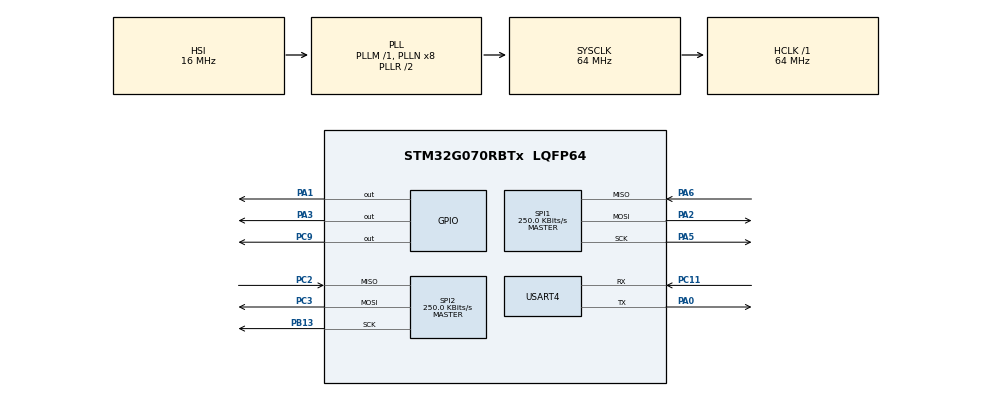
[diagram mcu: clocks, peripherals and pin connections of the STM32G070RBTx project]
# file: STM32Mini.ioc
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Mcu.Family=STM32G0
Mcu.Name=STM32G070RBTx
Mcu.Package=LQFP64
NVIC.USART3_4_IRQn=true\:2\:0\:true\:false\:true\:true\:true\:true
PA0.Mode=Asynchronous
PA0.Signal=USART4_TX
PA1.Signal=GPIO_Output
PA13.Mode=Serial_Wire
PA13.Signal=SYS_SWDIO
PA14-BOOT0.Mode=Serial_Wire
PA14-BOOT0.Signal=SYS_SWCLK
PA2.Mode=Full_Duplex_Master
PA2.Signal=SPI1_MOSI
PA3.PinState=GPIO_PIN_RESET
PA3.Signal=GPIO_Output
PA5.Mode=Full_Duplex_Master
PA5.Signal=SPI1_SCK
PA6.Mode=Full_Duplex_Master
PA6.Signal=SPI1_MISO
PB13.GPIO_Speed=GPIO_SPEED_FREQ_HIGH
PB13.Mode=Full_Duplex_Master
PB13.Signal=SPI2_SCK
PC11.Mode=Asynchronous
PC11.Signal=USART4_RX
PC2.GPIO_PuPd=GPIO_NOPULL
PC2.GPIO_Speed=GPIO_SPEED_FREQ_HIGH
PC2.Mode=Full_Duplex_Master
PC2.Signal=SPI2_MISO
PC3.GPIO_PuPd=GPIO_NOPULL
PC3.GPIO_Speed=GPIO_SPEED_FREQ_HIGH
PC3.Mode=Full_Duplex_Master
PC3.Signal=SPI2_MOSI
PC9.GPIO_PuPd=GPIO_NOPULL
PC9.GPIO_Speed=GPIO_SPEED_FREQ_MEDIUM
PC9.PinState=GPIO_PIN_RESET
PC9.Signal=GPIO_Output
ProjectManager.HeapSize=0x200
ProjectManager.StackSize=0x400
ProjectManager.TargetToolchain=STM32CubeIDE
RCC.ADCFreq_Value=64000000
RCC.AHBFreq_Value=64000000
RCC.CortexFreq_Value=64000000
RCC.EXTERNAL_CLOCK_VALUE=48000
RCC.HCLKFreq_Value=64000000
RCC.HSE_VALUE=8000000
RCC.HSI_VALUE=16000000
RCC.LSE_VALUE=32768
RCC.SYSCLKFreq_VALUE=64000000
RCC.SYSCLKSource=RCC_SYSCLKSOURCE_PLLCLK
RCC.VCOOutputFreq_Value=128000000
SPI1.BaudRatePrescaler=SPI_BAUDRATEPRESCALER_256
SPI1.CalculateBaudRate=250.0 KBits/s
SPI1.DataSize=SPI_DATASIZE_8BIT
SPI1.Direction=SPI_DIRECTION_2LINES
SPI1.Mode=SPI_MODE_MASTER
SPI1.NSSPMode=SPI_NSS_PULSE_DISABLE
SPI1.VirtualType=VM_MASTER
SPI2.BaudRatePrescaler=SPI_BAUDRATEPRESCALER_256
SPI2.CLKPhase=SPI_PHASE_1EDGE
SPI2.CalculateBaudRate=250.0 KBits/s
SPI2.DataSize=SPI_DATASIZE_8BIT
SPI2.Direction=SPI_DIRECTION_2LINES
SPI2.FirstBit=SPI_FIRSTBIT_MSB
SPI2.Mode=SPI_MODE_MASTER
SPI2.NSSPMode=SPI_NSS_PULSE_DISABLE
SPI2.VirtualType=VM_MASTER
USART4.TxPinLevelInvertParam=ADVFEATURE_TXINV_DISABLE
USART4.VirtualMode-Asynchronous=VM_ASYNC
board=custom

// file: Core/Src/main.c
/* USER CODE BEGIN Header */
/**
  ******************************************************************************
  * @file           : main.c
  * @brief          : Main program body
  ******************************************************************************
  * @attention
  *
  * Copyright (c) 2026 STMicroelectronics.
  * All rights reserved.
  *
  * This software is licensed under terms that can be found in the LICENSE file
  * in the root directory of this software component.
  * If no LICENSE file comes with this software, it is provided AS-IS.
  *
  ******************************************************************************
  */
/* USER CODE END Header */
#include "main.h"

/* USER CODE BEGIN Includes */
#include "stdio.h"
#include "stdlib.h"
#include "SDdriver.h"
/* USER CODE END Includes */

/* USER CODE BEGIN PD */
#define LED1_PORT GPIOA
#define LED1_PIN GPIO_PIN_0

#define LED2_PORT GPIOA
#define LED2_PIN GPIO_PIN_1
/* USER CODE END PD */

SPI_HandleTypeDef hspi1;
SPI_HandleTypeDef hspi2;

UART_HandleTypeDef huart4;

/* USER CODE BEGIN PV */
static char text[] = "Hello from STM32!\n\r";
/* USER CODE END PV */

void SystemClock_Config(void);
static void MX_GPIO_Init(void);
static void MX_USART4_UART_Init(void);
static void MX_SPI2_Init(void);
static void MX_SPI1_Init(void);
/* USER CODE BEGIN PFP */
void LEDPLAY(void);
/* USER CODE END PFP */

int main(void)
{

  /* MCU Configuration--------------------------------------------------------*/

  /* Reset of all peripherals, Initializes the Flash interface and the Systick. */
  HAL_Init();

  /* Configure the system clock */
  SystemClock_Config();

  /* Initialize all configured peripherals */
  MX_GPIO_Init();
  MX_USART4_UART_Init();
  MX_SPI2_Init();
  MX_SPI1_Init();
  /* USER CODE BEGIN 2 */
  HAL_Delay(500);
  HAL_UART_Transmit(&huart4, (uint8_t*) &text, sizeof(text), 50);

// separate, not onboard SD: SD_Init(GPIO_PIN_3, GPIOA, &hspi1, &huart4);
  SD_Init(GPIO_PIN_9, GPIOC, &hspi2, &huart4);

  HAL_UART_Transmit(&huart4, (uint8_t*) "Sending command 8 \r\n", 22, 50);
// cmd8 -> cmd58 -> cmd55 ->acmd41
  SD_SendCMD(8); // SEND_IF_COND

  HAL_UART_Transmit(&huart4, (uint8_t*) "Sending command 55 \r\n", 23, 50);
  SD_SendCMD(55); // cmd55 ->acmd41
  HAL_UART_Transmit(&huart4, (uint8_t*) "Sending command 59 \r\n", 23, 50);
  SD_SendCMD(59); // CRC off
  HAL_UART_Transmit(&huart4, (uint8_t*) "Sending command 58 \r\n", 23, 50);
  SD_SendCMD(58); // Reads the OCR register of a card.

  HAL_UART_Transmit(&huart4, (uint8_t*) "IF WE ARE HERE - THE CARD IS INITIALIZED \r\n", 45, 50);

  //HAL_UART_Transmit(&huart4, (uint8_t*) "Sending command 1 \r\n", 22, 50);
  //SD_SendCMD(1);
char txt1[] = "Reading the first 1Mbytes 250Khz\r\n";
char txt2[] = "Reading the first 1Mbytes 32Mhz\r\n";

  HAL_UART_Transmit(&huart4, (uint8_t*) txt1, sizeof(txt1), 50);
  SD_SendCMD(18);
  HAL_UART_Transmit(&huart4, (uint8_t*) txt2, sizeof(txt2), 50);
  hspi1.Init.BaudRatePrescaler = SPI_BAUDRATEPRESCALER_2;
  SD_SendCMD(18);

  //SD_SendCMD(13);
  /* USER CODE END 2 */

  /* Infinite loop */
  /* USER CODE BEGIN WHILE */
  while (1)
  {
	  HAL_GPIO_TogglePin(LED2_PORT, LED2_PIN);
	  HAL_GPIO_TogglePin(LED1_PORT, LED1_PIN);
	  HAL_Delay(1000);

    /* USER CODE END WHILE */

  }
}

void SystemClock_Config(void)
{
  RCC_OscInitTypeDef RCC_OscInitStruct = {0};
  RCC_ClkInitTypeDef RCC_ClkInitStruct = {0};

  /** Configure the main internal regulator output voltage
  */
  HAL_PWREx_ControlVoltageScaling(PWR_REGULATOR_VOLTAGE_SCALE1);

  /** Initializes the RCC Oscillators according to the specified parameters
  * in the RCC_OscInitTypeDef structure.
  */
  RCC_OscInitStruct.OscillatorType = RCC_OSCILLATORTYPE_HSI;
  RCC_OscInitStruct.HSIState = RCC_HSI_ON;
  RCC_OscInitStruct.HSIDiv = RCC_HSI_DIV1;
  RCC_OscInitStruct.HSICalibrationValue = RCC_HSICALIBRATION_DEFAULT;
  RCC_OscInitStruct.PLL.PLLState = RCC_PLL_ON;
  RCC_OscInitStruct.PLL.PLLSource = RCC_PLLSOURCE_HSI;
  RCC_OscInitStruct.PLL.PLLM = RCC_PLLM_DIV1;
  RCC_OscInitStruct.PLL.PLLN = 8;
  RCC_OscInitStruct.PLL.PLLP = RCC_PLLP_DIV2;
  RCC_OscInitStruct.PLL.PLLR = RCC_PLLR_DIV2;
  if (HAL_RCC_OscConfig(&RCC_OscInitStruct) != HAL_OK)
  {
    Error_Handler();
  }

  /** Initializes the CPU, AHB and APB buses clocks
  */
  RCC_ClkInitStruct.ClockType = RCC_CLOCKTYPE_HCLK|RCC_CLOCKTYPE_SYSCLK
                              |RCC_CLOCKTYPE_PCLK1;
  RCC_ClkInitStruct.SYSCLKSource = RCC_SYSCLKSOURCE_PLLCLK;
  RCC_ClkInitStruct.AHBCLKDivider = RCC_SYSCLK_DIV1;
  RCC_ClkInitStruct.APB1CLKDivider = RCC_HCLK_DIV1;

  if (HAL_RCC_ClockConfig(&RCC_ClkInitStruct, FLASH_LATENCY_2) != HAL_OK)
  {
    Error_Handler();
  }
}

static void MX_SPI1_Init(void)
{

  /* SPI1 parameter configuration*/
  hspi1.Instance = SPI1;
  hspi1.Init.Mode = SPI_MODE_MASTER;
  hspi1.Init.Direction = SPI_DIRECTION_2LINES;
  hspi1.Init.DataSize = SPI_DATASIZE_8BIT;
  hspi1.Init.CLKPolarity = SPI_POLARITY_LOW;
  hspi1.Init.CLKPhase = SPI_PHASE_1EDGE;
  hspi1.Init.NSS = SPI_NSS_SOFT;
  hspi1.Init.BaudRatePrescaler = SPI_BAUDRATEPRESCALER_256;
  hspi1.Init.FirstBit = SPI_FIRSTBIT_MSB;
  hspi1.Init.TIMode = SPI_TIMODE_DISABLE;
  hspi1.Init.CRCCalculation = SPI_CRCCALCULATION_DISABLE;
  hspi1.Init.CRCPolynomial = 7;
  hspi1.Init.CRCLength = SPI_CRC_LENGTH_DATASIZE;
  hspi1.Init.NSSPMode = SPI_NSS_PULSE_DISABLE;
  if (HAL_SPI_Init(&hspi1) != HAL_OK)
  {
    Error_Handler();
  }

}

static void MX_SPI2_Init(void)
{

  /* SPI2 parameter configuration*/
  hspi2.Instance = SPI2;
  hspi2.Init.Mode = SPI_MODE_MASTER;
  hspi2.Init.Direction = SPI_DIRECTION_2LINES;
  hspi2.Init.DataSize = SPI_DATASIZE_8BIT;
  hspi2.Init.CLKPolarity = SPI_POLARITY_LOW;
  hspi2.Init.CLKPhase = SPI_PHASE_1EDGE;
  hspi2.Init.NSS = SPI_NSS_SOFT;
  hspi2.Init.BaudRatePrescaler = SPI_BAUDRATEPRESCALER_256;
  hspi2.Init.FirstBit = SPI_FIRSTBIT_MSB;
  hspi2.Init.TIMode = SPI_TIMODE_DISABLE;
  hspi2.Init.CRCCalculation = SPI_CRCCALCULATION_DISABLE;
  hspi2.Init.CRCPolynomial = 7;
  hspi2.Init.CRCLength = SPI_CRC_LENGTH_DATASIZE;
  hspi2.Init.NSSPMode = SPI_NSS_PULSE_DISABLE;
  if (HAL_SPI_Init(&hspi2) != HAL_OK)
  {
    Error_Handler();
  }

}

static void MX_USART4_UART_Init(void)
{

  huart4.Instance = USART4;
  huart4.Init.BaudRate = 115200;
  huart4.Init.WordLength = UART_WORDLENGTH_8B;
  huart4.Init.StopBits = UART_STOPBITS_1;
  huart4.Init.Parity = UART_PARITY_NONE;
  huart4.Init.Mode = UART_MODE_TX_RX;
  huart4.Init.HwFlowCtl = UART_HWCONTROL_NONE;
  huart4.Init.OverSampling = UART_OVERSAMPLING_16;
  huart4.Init.OneBitSampling = UART_ONE_BIT_SAMPLE_DISABLE;
  huart4.Init.ClockPrescaler = UART_PRESCALER_DIV1;
  huart4.AdvancedInit.AdvFeatureInit = UART_ADVFEATURE_NO_INIT;
  if (HAL_UART_Init(&huart4) != HAL_OK)
  {
    Error_Handler();
  }

}

static void MX_GPIO_Init(void)
{
  GPIO_InitTypeDef GPIO_InitStruct = {0};

  /* GPIO Ports Clock Enable */
  __HAL_RCC_GPIOC_CLK_ENABLE();
  __HAL_RCC_GPIOA_CLK_ENABLE();
  __HAL_RCC_GPIOB_CLK_ENABLE();

  /*Configure GPIO pin Output Level */
  HAL_GPIO_WritePin(GPIOA, GPIO_PIN_1|GPIO_PIN_3, GPIO_PIN_RESET);

  /*Configure GPIO pin Output Level */
  HAL_GPIO_WritePin(GPIOC, GPIO_PIN_9, GPIO_PIN_RESET);

  /*Configure GPIO pins : PA1 PA3 */
  GPIO_InitStruct.Pin = GPIO_PIN_1|GPIO_PIN_3;
  GPIO_InitStruct.Mode = GPIO_MODE_OUTPUT_PP;
  GPIO_InitStruct.Pull = GPIO_NOPULL;
  GPIO_InitStruct.Speed = GPIO_SPEED_FREQ_LOW;
  HAL_GPIO_Init(GPIOA, &GPIO_InitStruct);

  /*Configure GPIO pin : PC9 */
  GPIO_InitStruct.Pin = GPIO_PIN_9;
  GPIO_InitStruct.Mode = GPIO_MODE_OUTPUT_PP;
  GPIO_InitStruct.Pull = GPIO_NOPULL;
  GPIO_InitStruct.Speed = GPIO_SPEED_FREQ_MEDIUM;
  HAL_GPIO_Init(GPIOC, &GPIO_InitStruct);

}

/* USER CODE BEGIN 4 */
void HAL_UART_TxCpltCallback(UART_HandleTypeDef *huart4) {
	LEDPLAY();
}

void LEDPLAY(void){
	for (int i = 0; i<10;i++){
		HAL_GPIO_TogglePin(LED2_PORT, LED2_PIN);
		HAL_Delay(10);
	}
}
/* USER CODE END 4 */

void Error_Handler(void)
{
  __disable_irq();
  while (1)
  {
  }
}
